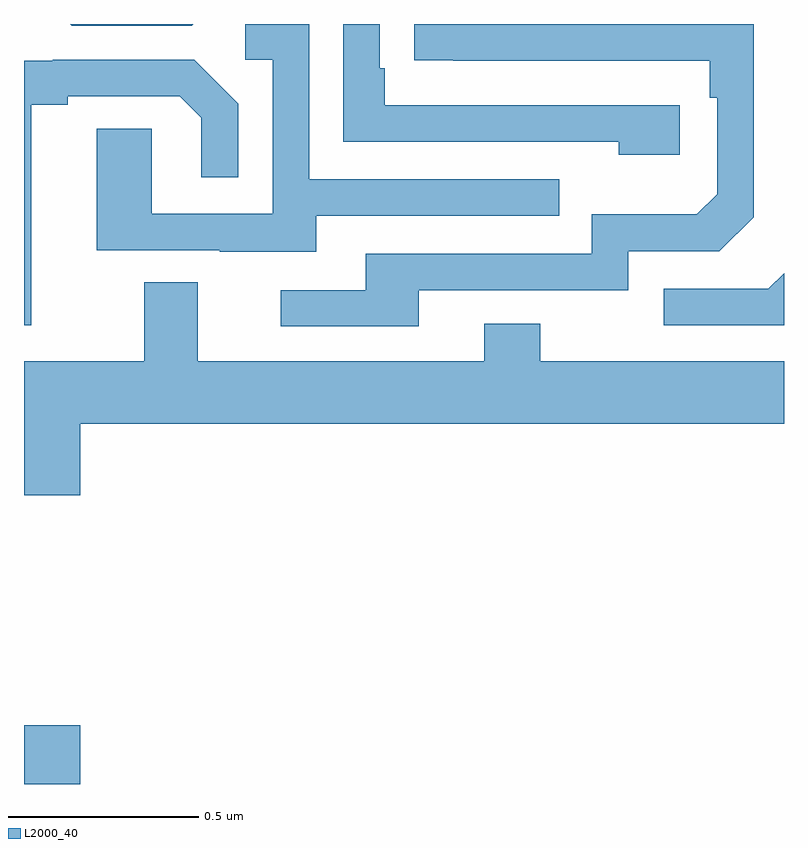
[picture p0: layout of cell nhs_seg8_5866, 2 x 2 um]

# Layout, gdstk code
import gdstk
lib = gdstk.Library(unit=1e-6, precision=1e-09)
def R(c, l, rs):  # rectangles x0, y0, x1, y1
    for r in rs: c.add(gdstk.rectangle(r[:2], r[2:], *l))
def P(c, l, *ps):  # polygons
    for p in ps: c.add(gdstk.Polygon(p, *l))
L2000_40 = (2000, 40)

nhs_seg8_5866 = lib.new_cell('nhs_seg8_5866')
R(nhs_seg8_5866, L2000_40, [(189,1100.9,189.148,1101.055)])
P(nhs_seg8_5866, L2000_40, [(189.445,1102.9),(189.122,1102.9),(189.126,1102.896),(189.441,1102.896)],
  [(190.726,1102.686),(189.949,1102.686),(189.949,1102.783),(189.936,1102.783),(189.936,1102.9),(189.84,1102.9),(189.84,1102.59),(190.565,1102.59),(190.565,1102.556),(190.726,1102.556)],
  [(189.769,1102.395),(190.409,1102.395),(190.409,1102.491),(189.75,1102.491),(189.75,1102.9),(189.582,1102.9),(189.582,1102.806),(189.654,1102.806),(189.654,1102.401),(189.336,1102.401),(189.336,1102.625),(189.191,1102.625),(189.191,1102.305),(189.515,1102.305),(189.515,1102.301),(189.769,1102.301)],
  [(190.039,1102.2),(190.59,1102.2),(190.59,1102.302),(190.83,1102.302),(190.92,1102.392),(190.92,1102.899),(190.625,1102.899),(190.625,1102.9),(190.513,1102.9),(190.513,1102.899),(190.123,1102.899),(190.123,1102.9),(190.027,1102.9),(190.027,1102.804),(190.129,1102.804),(190.129,1102.803),(190.804,1102.803),(190.804,1102.706),(190.824,1102.706),(190.824,1102.452),(190.771,1102.399),(190.494,1102.399),(190.494,1102.296),(189.899,1102.296),(189.899,1102.2),(189.675,1102.2),(189.675,1102.104),(190.039,1102.104)],
  [(189.019,1102.688),(189.115,1102.688),(189.115,1102.71),(189.41,1102.71),(189.467,1102.653),(189.467,1102.497),(189.564,1102.497),(189.564,1102.69),(189.448,1102.806),(189.076,1102.806),(189.076,1102.803),(189,1102.803),(189,1102.107),(189.019,1102.107)],
  [(191,1102.244),(190.959,1102.203),(190.683,1102.203),(190.683,1102.107),(191,1102.107)],
  [(189.148,1101.848),(191,1101.848),(191,1102.012),(190.359,1102.012),(190.359,1102.111),(190.211,1102.111),(190.211,1102.012),(189.457,1102.012),(189.457,1102.22),(189.317,1102.22),(189.317,1102.012),(189,1102.012),(189,1101.66),(189.148,1101.66)])

lib.write_gds('nhs_seg8_5866.gds')
